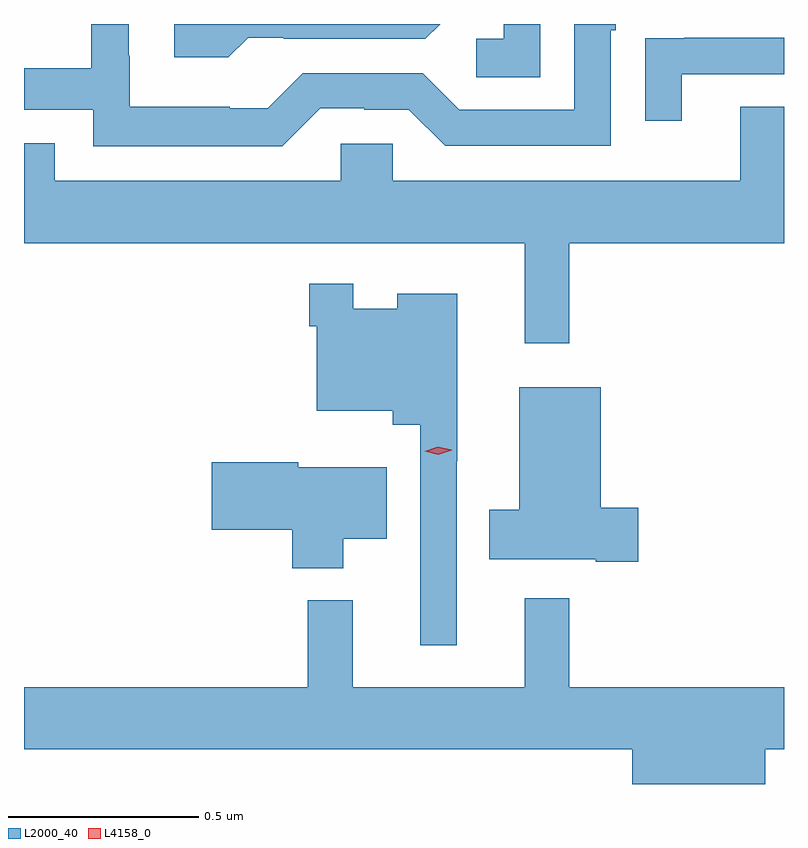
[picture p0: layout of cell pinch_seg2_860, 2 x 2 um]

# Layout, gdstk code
import gdstk
lib = gdstk.Library(unit=1e-6, precision=1e-09)
def P(c, l, *ps):  # polygons
    for p in ps: c.add(gdstk.Polygon(p, *l))
L2000_40 = (2000, 40)
L4158_0 = (4158, 0)

pinch_seg2_860 = lib.new_cell('pinch_seg2_860')
P(pinch_seg2_860, L2000_40, [(832.083,618.687),(832.199,618.687),(832.199,618.684),(832.317,618.684),(832.413,618.588),(832.848,618.588),(832.848,618.893),(832.861,618.893),(832.861,618.909),(832.752,618.909),(832.752,618.684),(832.449,618.684),(832.353,618.78),(832.038,618.78),(831.945,618.687),(831.845,618.687),(831.845,618.691),(831.582,618.691),(831.582,618.825),(831.58,618.825),(831.58,618.909),(831.481,618.909),(831.481,618.793),(831.304,618.793),(831.304,618.684),(831.486,618.684),(831.486,618.587),(831.983,618.587)],
  [(831.894,618.873),(831.988,618.873),(831.988,618.87),(832.36,618.87),(832.399,618.909),(831.699,618.909),(831.699,618.821),(831.842,618.821)],
  [(832.662,618.909),(832.566,618.909),(832.566,618.87),(832.494,618.87),(832.494,618.769),(832.662,618.769)],
  [(833.035,618.777),(833.304,618.777),(833.304,618.873),(833.041,618.873),(833.041,618.872),(832.939,618.872),(832.939,618.654),(833.035,618.654)],
  [(832.739,618.332),(833.304,618.332),(833.304,618.691),(833.189,618.691),(833.189,618.496),(832.275,618.496),(832.275,618.594),(832.137,618.594),(832.137,618.496),(831.385,618.496),(831.385,618.595),(831.304,618.595),(831.304,618.332),(832.622,618.332),(832.622,618.069),(832.739,618.069)],
  [(832.443,617.759),(832.444,617.759),(832.444,618.199),(832.286,618.199),(832.286,618.16),(832.17,618.16),(832.17,618.226),(832.054,618.226),(832.054,618.113),(832.074,618.113),(832.074,617.891),(832.274,617.891),(832.274,617.855),(832.347,617.855),(832.347,617.274),(832.443,617.274)],
  [(832.921,617.636),(832.822,617.636),(832.822,617.953),(832.607,617.953),(832.607,617.631),(832.528,617.631),(832.528,617.501),(832.808,617.501),(832.808,617.494),(832.921,617.494)],
  [(832.144,617.555),(832.258,617.555),(832.258,617.743),(832.026,617.743),(832.026,617.756),(831.798,617.756),(831.798,617.578),(832.01,617.578),(832.01,617.477),(832.144,617.477)],
  [(833.254,617),(833.304,617),(833.304,617.164),(832.739,617.164),(832.739,617.398),(832.622,617.398),(832.622,617.164),(832.169,617.164),(832.169,617.392),(832.051,617.392),(832.051,617.164),(831.304,617.164),(831.304,617),(832.904,617),(832.904,616.909),(833.254,616.909)])
P(pinch_seg2_860, L4158_0, [(832.394,617.776),(832.358,617.785),(832.358,617.785),(832.358,617.785),(832.393,617.796),(832.429,617.788),(832.429,617.787),(832.429,617.787)])

lib.write_gds('pinch_seg2_860.gds')
